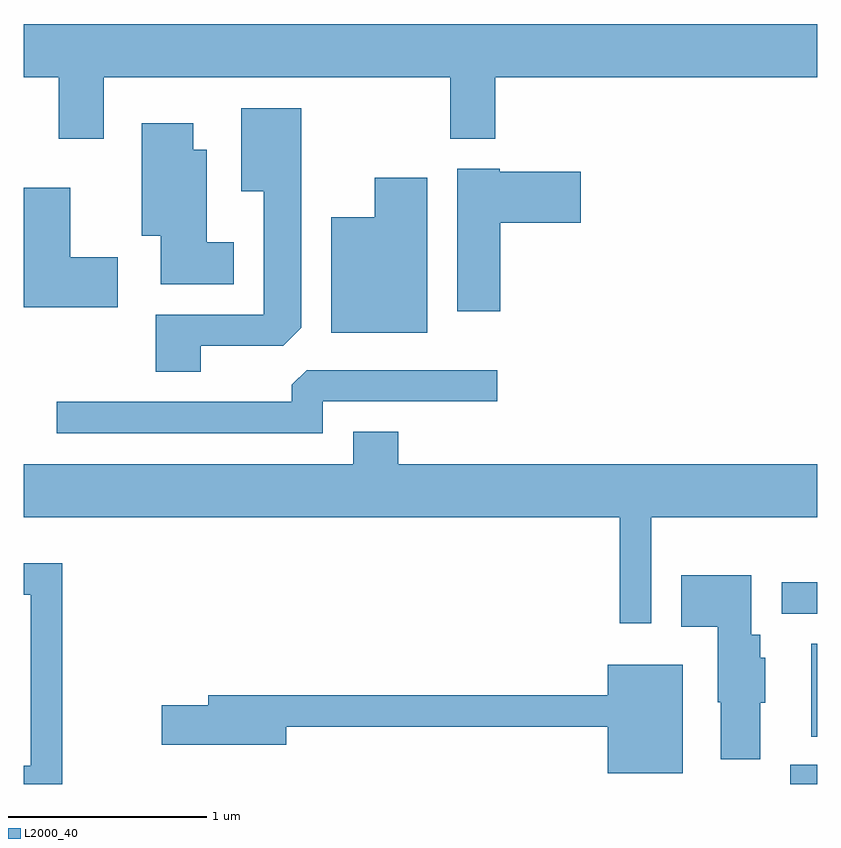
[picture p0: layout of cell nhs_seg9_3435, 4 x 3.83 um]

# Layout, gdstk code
import gdstk
lib = gdstk.Library(unit=1e-6, precision=1e-09)
def R(c, l, rs):  # rectangles x0, y0, x1, y1
    for r in rs: c.add(gdstk.rectangle(r[:2], r[2:], *l))
def P(c, l, *ps):  # polygons
    for p in ps: c.add(gdstk.Polygon(p, *l))
L2000_40 = (2000, 40)

nhs_seg9_3435 = lib.new_cell('nhs_seg9_3435')
R(nhs_seg9_3435, L2000_40, [(289.476,2030.432,289.611,2030.528), (289.581,2030.671,289.611,2031.139), (289.433,2031.291,289.611,2031.449)])
P(nhs_seg9_3435, L2000_40, [(286.014,2033.996),(287.761,2033.996),(287.761,2033.686),(287.989,2033.686),(287.989,2033.996),(289.611,2033.996),(289.611,2034.264),(285.611,2034.264),(285.611,2033.996),(285.786,2033.996),(285.786,2033.686),(286.014,2033.686)],
  [(286.504,2032.641),(286.919,2032.641),(287.009,2032.732),(287.009,2033.839),(286.706,2033.839),(286.706,2033.421),(286.821,2033.421),(286.821,2032.799),(286.276,2032.799),(286.276,2032.511),(286.504,2032.511)],
  [(286.669,2033.164),(286.534,2033.164),(286.534,2033.629),(286.464,2033.629),(286.464,2033.764),(286.206,2033.764),(286.206,2033.196),(286.301,2033.196),(286.301,2032.951),(286.669,2032.951)],
  [(288.014,2033.261),(288.419,2033.261),(288.419,2033.519),(288.01,2033.519),(288.01,2033.534),(287.796,2033.534),(287.796,2032.816),(288.014,2032.816)],
  [(287.644,2033.489),(287.381,2033.489),(287.381,2033.289),(287.161,2033.289),(287.161,2032.706),(287.644,2032.706)],
  [(286.084,2033.089),(285.844,2033.089),(285.844,2033.439),(285.611,2033.439),(285.611,2032.836),(286.084,2032.836)],
  [(287.119,2032.361),(287.998,2032.361),(287.998,2032.519),(287.037,2032.519),(286.961,2032.444),(286.961,2032.359),(285.778,2032.359),(285.778,2032.201),(287.119,2032.201)],
  [(288.774,2031.776),(289.611,2031.776),(289.611,2032.044),(287.499,2032.044),(287.499,2032.209),(287.271,2032.209),(287.271,2032.044),(285.611,2032.044),(285.611,2031.776),(288.616,2031.776),(288.616,2031.243),(288.774,2031.243)],
  [(285.804,2031.544),(285.611,2031.544),(285.611,2031.386),(285.646,2031.386),(285.646,2030.524),(285.611,2030.524),(285.611,2030.432),(285.804,2030.432)],
  [(289.324,2030.841),(289.349,2030.841),(289.349,2031.069),(289.324,2031.069),(289.324,2031.184),(289.279,2031.184),(289.279,2031.484),(288.926,2031.484),(288.926,2031.226),(289.111,2031.226),(289.111,2030.845),(289.126,2030.845),(289.126,2030.556),(289.324,2030.556)],
  [(288.934,2031.034),(288.556,2031.034),(288.556,2030.879),(286.541,2030.879),(286.541,2030.829),(286.306,2030.829),(286.306,2030.631),(286.934,2030.631),(286.934,2030.721),(288.556,2030.721),(288.556,2030.486),(288.934,2030.486)])

lib.write_gds('nhs_seg9_3435.gds')
